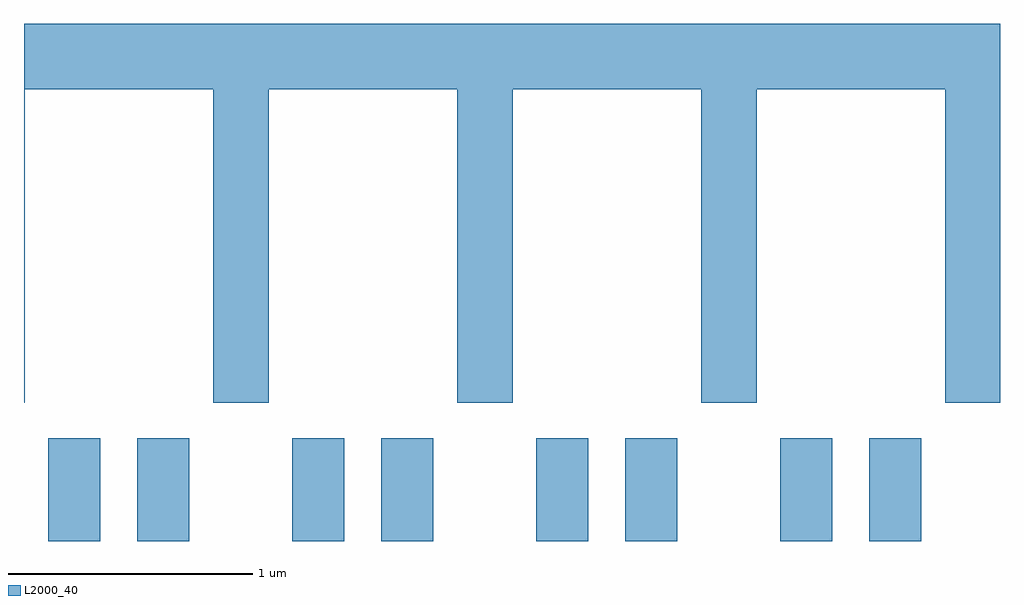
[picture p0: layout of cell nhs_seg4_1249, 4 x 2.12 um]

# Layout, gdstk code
import gdstk
lib = gdstk.Library(unit=1e-6, precision=1e-09)
def R(c, l, rs):  # rectangles x0, y0, x1, y1
    for r in rs: c.add(gdstk.rectangle(r[:2], r[2:], *l))
def P(c, l, *ps):  # polygons
    for p in ps: c.add(gdstk.Polygon(p, *l))
L2000_40 = (2000, 40)

nhs_seg4_1249 = lib.new_cell('nhs_seg4_1249')
R(nhs_seg4_1249, L2000_40, [(221.711,1303.982,221.924,1304.404), (222.076,1303.982,222.289,1304.404), (222.711,1303.982,222.924,1304.404), (223.076,1303.982,223.289,1304.404), (223.711,1303.982,223.924,1304.404), (224.076,1303.982,224.289,1304.404), (224.711,1303.982,224.924,1304.404), (225.076,1303.982,225.289,1304.404)])
P(nhs_seg4_1249, L2000_40, [(221.614,1305.836),(222.386,1305.836),(222.386,1304.551),(222.614,1304.551),(222.614,1305.836),(223.386,1305.836),(223.386,1304.551),(223.614,1304.551),(223.614,1305.836),(224.386,1305.836),(224.386,1304.551),(224.614,1304.551),(224.614,1305.836),(225.386,1305.836),(225.386,1304.551),(225.611,1304.551),(225.611,1306.104),(221.611,1306.104),(221.611,1304.551),(221.614,1304.551)])

lib.write_gds('nhs_seg4_1249.gds')
